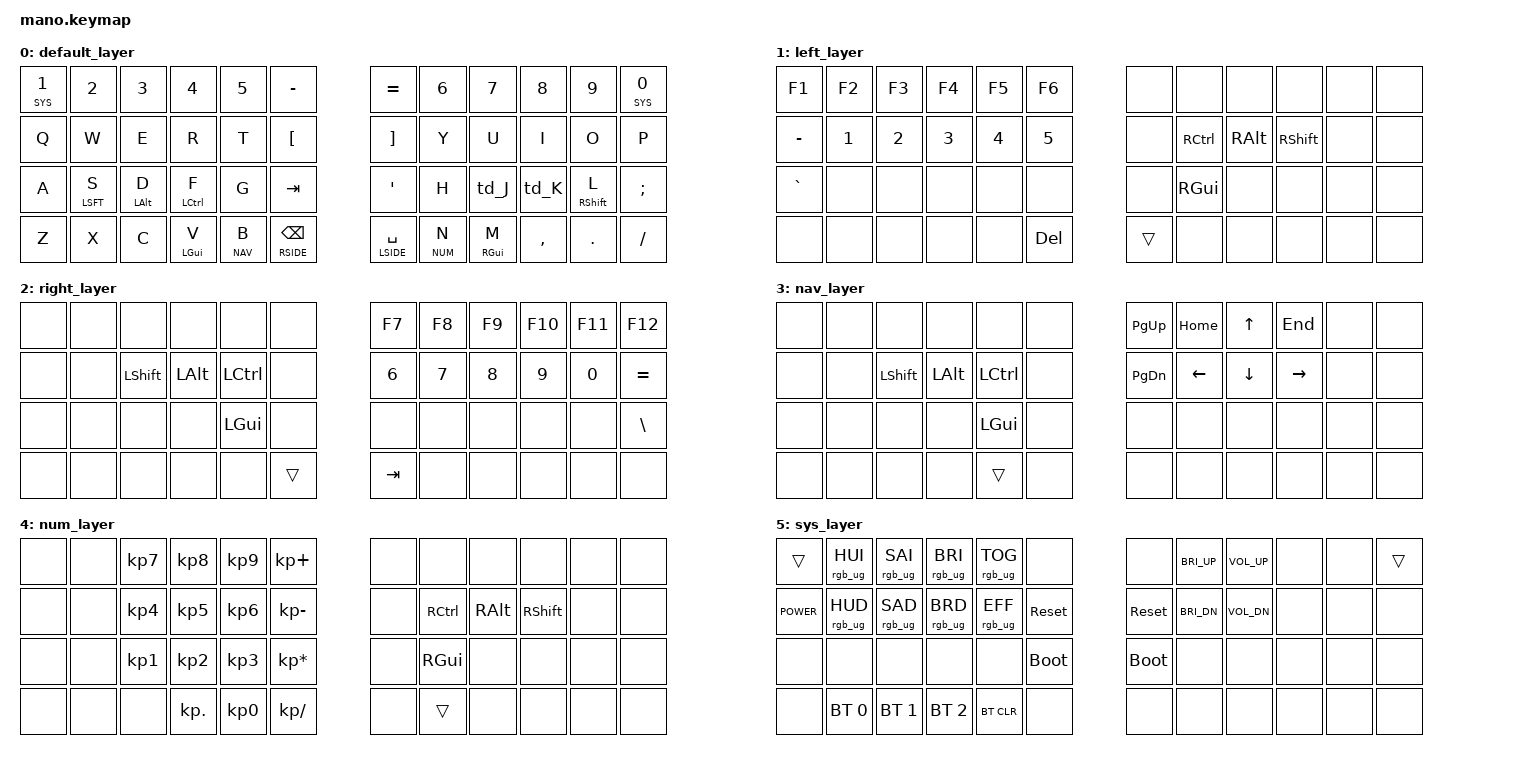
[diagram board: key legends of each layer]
#include <behaviors.dtsi>
#include <dt-bindings/zmk/keys.h>
#include <dt-bindings/zmk/bt.h>
#include <dt-bindings/zmk/rgb.h>

#define BASE 0
#define LSIDE  1
#define RSIDE  2
#define NAV  3
#define NUM  4
#define SYS  5

/ {
    behaviors {
        Lht: left_hand_positional_hold_tap {
            compatible = "zmk,behavior-hold-tap";
            label = "LEFT_POSITIONAL_HOLD_TAP";
            #binding-cells = <2>;
            tapping-term-ms = <180>;
            quick-tap-ms = <0>;
            flavor = "balanced";
            bindings = <&kp>, <&kp>;
        };
        Rht: right_hand_positional_hold_tap {
            compatible = "zmk,behavior-hold-tap";
            label = "RIGHT_POSITIONAL_HOLD_TAP";
            #binding-cells = <2>;
            tapping-term-ms = <180>;
            quick-tap-ms = <0>;
            flavor = "balanced";
            bindings = <&kp>, <&kp>;
        };

        td_Esc: tap_dance_esc {
            compatible = "zmk,behavior-tap-dance";
            label = "tap dance Esc";
            #binding-cells = <0>;
            tapping-term-ms = <200>;
            bindings = <&kp ESC>, <&kp GRAVE>;
        };

        td_J: tap_dance_j {
            compatible = "zmk,behavior-tap-dance";
            label = "tap dance J";
            #binding-cells = <0>;
            tapping-term-ms = <200>;
            bindings = <&Rht RCTRL J>, <&kp ESC>;
        };
        td_K: tap_dance_backspace {
            compatible = "zmk,behavior-tap-dance";
            label = "tap dance K";
            #binding-cells = <0>;
            tapping-term-ms = <200>;
            bindings = <&Rht RALT K>, <&kp ENTER>;
        };
        td_lr: tap_dance_R_lower_right {
            compatible = "zmk,behavior-tap-dance";
            label = "tap dance overload left lower right key";
            #binding-cells = <0>;
            tapping-term-ms = <500>;
            bindings = <&lt RSIDE BSPC>, <&kp LBKT>;
        };
        td_ll: tap_dance_L_lower_left {
            compatible = "zmk,behavior-tap-dance";
            label = "tap dance overload right lower left key";
            #binding-cells = <0>;
            tapping-term-ms = <500>;
            bindings = <&lt LSIDE SPACE>, <&kp N>;
        };
    };

     combos {
            compatible = "zmk,combos";

// Firtst Row
//            combo_firstRow_L_ringmiddle {
//              timeout-ms = <70>;
//                key-positions = <2 3>;
//                bindings = <&kp ESC>;
//            };
//            combo_firstRow_L_middleindex {
//                timeout-ms = <70>;
//                key-positions = <3 4>;
//                bindings = <&kp TAB>;
//            };


//            combo_firstRow_R_index_middle {
//                timeout-ms = <70>;
//                key-positions = <7 8>;
//                bindings = <&kp BSPC>;
//            };
//            combo_firstRow_R_middle_ring {
//                timeout-ms = <70>;
//                key-positions = <8 9>;
//                bindings = <&kp DELETE>;
//            };
            
// Second Row - these will colide with home row modifiers
//            combo_secondRow_L_ringmiddle {
//              timeout-ms = <70>;
//                key-positions = <14 15>;
//                bindings = <&kp ESC>;
//            };
//            combo_secondRow_L_middleindex {
//                timeout-ms = <70>;
//                key-positions = <15 16>;
//                bindings = <&kp TAB>;
//            };
//
//            combo_secondRow_R_index_middle {
//                timeout-ms = <70>;
//                key-positions = <19 20>;
//                bindings = <&kp SPACE>;
//            };
//            combo_secondRow_R_middle_ring {
//                timeout-ms = <70>;
//                key-positions = <20 21>;
//                bindings = <&kp ENTER>;
//            };


//            combo_space {
//                timeout-ms = <70>;
//                key-positions = <31 32>;
//                bindings = <&kp SPACE>;
//            };
//            combo_enter {
//                timeout-ms = <70>;
//                key-positions = <32 33>;
//                bindings = <&kp RETURN>;
//            };
//           combo_R_down_indexmid {
//               timeout-ms = <70>;
//               key-positions = <31 32>;
//               bindings = <&kp BSPC>;
//           };
//           combo_R_down_midring {
//               timeout-ms = <70>;
//               key-positions = <32 33>;
//               bindings = <&kp DEL>;
//           };
//
//            combo_j {
//                timeout-ms = <70>;
//                key-positions = <30 31>;
//                bindings = <&kp J>;
//            };
    };
    
    keymap {
        compatible = "zmk,keymap";


        default_layer {
            bindings = <           
&lt SYS N1      &kp N2          &kp N3          &kp N4          &kp N5          &kp MINUS                       &kp EQUAL           &kp N6              &kp N7              &kp N8          &kp N9          &lt SYS N0
&kp Q           &kp W           &kp E           &kp R           &kp T           &kp LBKT                        &kp RBKT            &kp Y               &kp U               &kp I           &kp O           &kp P               
&kp A           &Lht LSFT S     &Lht LALT D     &Lht LCTRL F    &kp G           &kp TAB                         &kp APOS            &kp H               &td_J               &td_K           &Rht RSHFT L    &kp SEMICOLON       
&kp Z           &kp X           &kp C           &Lht LGUI V     &lt NAV B       &lt RSIDE BSPC                  &lt LSIDE SPACE     &lt NUM N           &Rht RGUI M         &kp COMMA       &kp DOT         &kp SLASH           
//  &kp Esc     &kp RETURN      
            >;
        };

        left_layer {
            bindings = <
&kp F1          &kp F2          &kp F3          &kp F4          &kp F5          &kp F6                          &none               &none               &none           &none           &none               &none        
&kp MINUS       &kp N1          &kp N2          &kp N3          &kp N4          &kp N5                          &none               &kp RCTRL           &kp RALT        &kp RSHFT       &none               &none        
&kp GRAVE       &none           &none           &none           &none           &none                           &none               &kp RGUI            &none           &none           &none               &none               
&none           &none           &none           &none           &none           &kp DELETE                      &trans              &none               &none           &none           &none               &none
            >;
        };
                
        right_layer {
            bindings = <
&none           &none           &none           &none           &none           &none                           &kp F7              &kp F8              &kp F9          &kp F10         &kp F11             &kp F12                   
&none           &none           &kp LSHFT       &kp LALT        &kp LCTRL       &none                           &kp N6              &kp N7              &kp N8          &kp N9          &kp N0              &kp EQUAL                                   
&none           &none           &none           &none           &kp LGUI        &none                           &none               &none               &none           &none           &none               &kp BACKSLASH       
&none           &none           &none           &none           &none           &trans                          &kp TAB             &none               &none           &none           &none               &none           
            >;
        };

        nav_layer {
            bindings = <
&none           &none           &none           &none           &none           &none                           &kp PG_UP           &kp HOME            &kp UP          &kp END         &none               &none                       
&none           &none           &kp LSHFT       &kp LALT        &kp LCTRL       &none                           &kp PG_DN           &kp LEFT            &kp DOWN        &kp RIGHT       &none               &none                        
&none           &none           &none           &none           &kp LGUI        &none                           &none               &none               &none           &none           &none               &none           
&none           &none           &none           &none           &trans          &none                           &none               &none               &none           &none           &none               &none           
            >;
        };

        num_layer {
            bindings = <
&none           &none           &kp KP_N7       &kp KP_N8       &kp KP_N9       &kp KP_PLUS                     &none               &none               &none           &none           &none               &none
&none           &none           &kp KP_N4       &kp KP_N5       &kp KP_N6       &kp KP_MINUS                    &none               &kp RCTRL           &kp RALT        &kp RSHFT       &none               &none
&none           &none           &kp KP_N1       &kp KP_N2       &kp KP_N3       &kp KP_MULTIPLY                 &none               &kp RGUI            &none           &none           &none               &none               
&none           &none           &none           &kp KP_DOT      &kp KP_N0       &kp KP_DIVIDE                   &none               &trans              &none           &none           &none               &none
            >;
        };

        sys_layer {
            bindings = <
&trans          &rgb_ug RGB_HUI &rgb_ug RGB_SAI &rgb_ug RGB_BRI &rgb_ug RGB_TOG &none                           &none               &kp C_BRI_UP        &kp C_VOL_UP    &none           &none               &trans
&kp K_POWER     &rgb_ug RGB_HUD &rgb_ug RGB_SAD &rgb_ug RGB_BRD &rgb_ug RGB_EFF &sys_reset                      &sys_reset          &kp C_BRI_DN        &kp C_VOL_DN    &none           &none               &none
&none           &none           &none           &none           &none           &bootloader                     &bootloader         &none               &none           &none           &none               &none
&none           &bt BT_SEL 0    &bt BT_SEL 1    &bt BT_SEL 2    &bt BT_CLR      &none                           &none               &none               &none           &none           &none               &none
            >;
        };
    };
};
